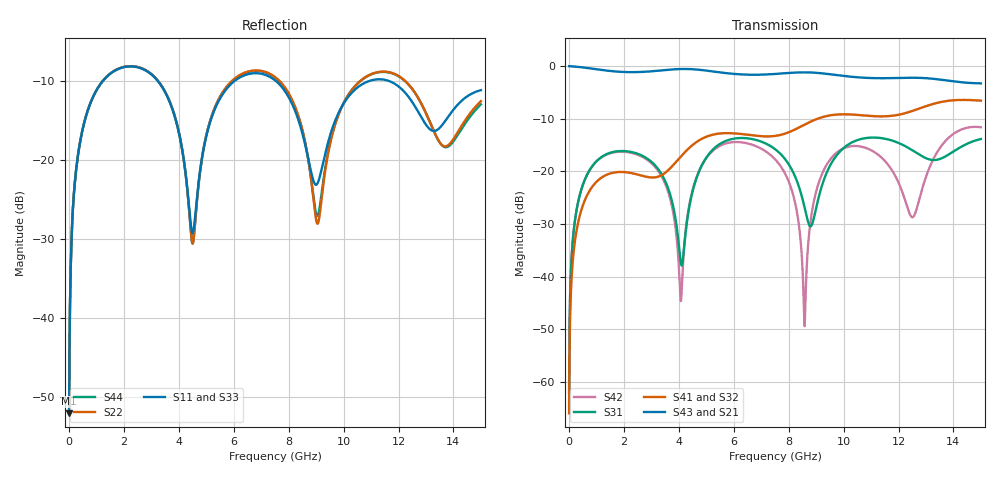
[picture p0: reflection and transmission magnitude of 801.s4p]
! Created with skrf 1.8.0 (http://scikit-rf.org).
# GHz S RI R 50.0
!freq ReS11 ImS11 ReS12 ImS12 ReS13 ImS13
! ReS14 ImS14
! ReS21 ImS21 ReS22 ImS22 ReS23 ImS23
! ReS24 ImS24
! ReS31 ImS31 ReS32 ImS32 ReS33 ImS33
! ReS34 ImS34
! ReS41 ImS41 ReS42 ImS42 ReS43 ImS43
! ReS44 ImS44
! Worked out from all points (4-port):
!   2499 points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, 5 MHz to 15 GHz, reference 50 ohm
!   strongest paths, dB at 5 MHz, 3.476 GHz, 7.19 GHz, 11.1 GHz, 15 GHz:
!     S43: 0.0, -0.8, -1.6, -2.3, -3.3
!     S21: 0.0, -0.8, -1.6, -2.3, -3.3
!     S41: -65.9, -20.4, -13.3, -9.5, -6.6
!     S32: -65.9, -20.4, -13.4, -9.5, -6.6
!     S31: -62.0, -21.5, -14.8, -13.6, -13.8
!     S42: -62.0, -22.0, -16.3, -16.3, -11.6
!   lowest |S11| = -52.0 dB at 5 MHz (marker M1), VSWR 1.01, Z = 50.2 + j0.152 ohm
!   |S11| at or under -10 dB: 3.242 GHz to 6.019 GHz (2.777 GHz wide, 60 % of centre); 7.544 GHz to 10.91 GHz (3.364 GHz wide, 36.5 % of centre); 11.67 GHz to end of sweep (the widest 3 of 4)
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0.005  0.00199 0.00151  0.998 -0.00387  0.000101 0.00079  -9.82e-05 -0.000496
       0.998 -0.00387  0.00199 0.00151  -9.82e-05 -0.000496  0.000101 0.00079
       0.000101 0.00079  -9.82e-05 -0.000496  0.00199 0.00151  0.998 -0.00387
       -9.82e-05 -0.000496  0.000101 0.00079  0.998 -0.00387  0.00199 0.00151
1.3193  0.2802 0.1742  0.5266 -0.7414  0.1327 0.0554  -0.0915 -0.00253
        0.5266 -0.7414  0.2816 0.1732  -0.0914 -0.00269  0.129 0.0606
        0.1327 0.0554  -0.0914 -0.00269  0.2803 0.1742  0.5266 -0.7414
        -0.0915 -0.00253  0.129 0.0606  0.5266 -0.7414  0.2815 0.1733
4.076699  0.0665 -0.1108  -0.8696 -0.3505  -0.0122 -0.00554  -0.0468 0.1307
          -0.8696 -0.3505  0.0617 -0.1141  -0.0488 0.13  -0.00581 -0.000952
          -0.0122 -0.00554  -0.0488 0.13  0.0664 -0.1108  -0.8696 -0.3507
          -0.0468 0.1307  -0.00581 -0.000952  -0.8696 -0.3507  0.0618 -0.114
4.58316  0.037 0.0203  -0.9303 -0.00427  0.0142 0.0758  0.00737 0.185
         -0.9303 -0.00427  0.0326 0.0206  0.00476 0.185  0.012 0.0782
         0.0142 0.0758  0.00476 0.185  0.0372 0.0203  -0.9303 -0.00446
         0.00737 0.185  0.012 0.0782  -0.9303 -0.00446  0.0324 0.0203
8.578574  0.0972 -0.087  0.7696 0.4087  -0.0338 -0.0307  0.1182 -0.2517
          0.7696 0.4087  0.075 -0.1131  0.127 -0.2472  -0.00334 -0.000623
          -0.0338 -0.0307  0.127 -0.2472  0.0912 -0.0879  0.77 0.4087
          0.1182 -0.2517  -0.00334 -0.000623  0.77 0.4087  0.0786 -0.109
11.67361  0.315 -0.0282  -0.0139 -0.7677  0.0765 -0.1843  -0.331 0.0555
          -0.0139 -0.7677  0.3574 -0.0449  -0.3318 0.041  0.0789 -0.078
          0.0765 -0.1843  -0.3318 0.041  0.3157 -0.0284  -0.0131 -0.768
          -0.331 0.0555  0.0789 -0.078  -0.0131 -0.768  0.3556 -0.0457
15  0.276 0.0295  -0.5311 0.4321  0.1983 0.0438  0.3616 0.3
    -0.5311 0.4321  0.2289 0.0597  0.3441 0.3143  0.2512 0.0762
    0.1983 0.0438  0.3441 0.3143  0.2823 0.0294  -0.5325 0.431
    0.3616 0.3  0.2512 0.0762  -0.5325 0.431  0.218 0.0584
